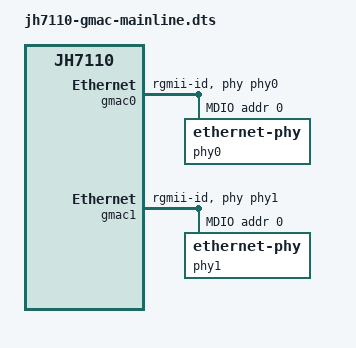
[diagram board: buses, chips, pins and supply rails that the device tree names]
/dts-v1/;

/*
 * radon's ports as MAINLINE Linux describes a VisionFive 2 v1.3B. MODELED from source, not
 * captured: torvalds/linux master, `arch/riscv/boot/dts/starfive/jh7110.dtsi` (gmac0, gmac1,
 * aoncrg, aon_syscon), `jh7110-common.dtsi` (gmac0's phy-mode and mdio/phy0) and
 * `jh7110-starfive-visionfive-2-v1.3b.dts` (phy0's delays, drive strengths and clock inversion),
 * read 2026-10-06 (UTC). radon's EEPROM says PCB revision 0xb2, a v1.3B.
 *
 * The tree radon serves is the vendor's (jh7110-gmac-vendor.dts); this one exists so the
 * discovery reads the standard binding too, and so a test can show the two land on the same
 * register values.
 */

/ {
	#address-cells = <2>;
	#size-cells = <2>;
	compatible = "starfive,visionfive-2-v1.3b", "starfive,jh7110";

	soc {
		compatible = "simple-bus";
		#address-cells = <2>;
		#size-cells = <2>;
		ranges;

		gmac0: ethernet@16030000 {
			compatible = "starfive,jh7110-dwmac", "snps,dwmac-5.20";
			reg = <0x0 0x16030000 0x0 0x10000>;
			interrupts = <7>, <6>, <5>;
			interrupt-names = "macirq", "eth_wake_irq", "eth_lpi";
			rx-fifo-depth = <2048>;
			tx-fifo-depth = <2048>;
			snps,fixed-burst;
			snps,no-pbl-x8;
			snps,force_thresh_dma_mode;
			snps,txpbl = <16>;
			snps,rxpbl = <16>;
			starfive,syscon = <&aon_syscon 0xc 0x12>;
			starfive,tx-use-rgmii-clk;
			phy-handle = <&phy0>;
			phy-mode = "rgmii-id";
			status = "okay";

			mdio {
				#address-cells = <1>;
				#size-cells = <0>;
				compatible = "snps,dwmac-mdio";

				phy0: ethernet-phy@0 {
					reg = <0>;
					motorcomm,tx-clk-adj-enabled;
					motorcomm,tx-clk-100-inverted;
					motorcomm,tx-clk-1000-inverted;
					motorcomm,rx-clk-drv-microamp = <3970>;
					motorcomm,rx-data-drv-microamp = <2910>;
					rx-internal-delay-ps = <1500>;
					tx-internal-delay-ps = <1500>;
				};
			};
		};

		gmac1: ethernet@16040000 {
			compatible = "starfive,jh7110-dwmac", "snps,dwmac-5.20";
			reg = <0x0 0x16040000 0x0 0x10000>;
			interrupts = <78>, <77>, <76>;
			phy-handle = <&phy1>;
			phy-mode = "rgmii-id";
			status = "okay";

			mdio {
				#address-cells = <1>;
				#size-cells = <0>;
				compatible = "snps,dwmac-mdio";

				phy1: ethernet-phy@1 {
					reg = <0>;
					motorcomm,tx-clk-adj-enabled;
					motorcomm,tx-clk-100-inverted;
					motorcomm,rx-clk-drv-microamp = <3970>;
					motorcomm,rx-data-drv-microamp = <2910>;
					rx-internal-delay-ps = <300>;
					tx-internal-delay-ps = <0>;
				};
			};
		};

		aoncrg: clock-controller@17000000 {
			compatible = "starfive,jh7110-aoncrg";
			reg = <0x0 0x17000000 0x0 0x10000>;
			#clock-cells = <1>;
			#reset-cells = <1>;
		};

		aon_syscon: syscon@17010000 {
			compatible = "starfive,jh7110-aon-syscon", "syscon";
			reg = <0x0 0x17010000 0x0 0x1000>;
		};
	};
};
